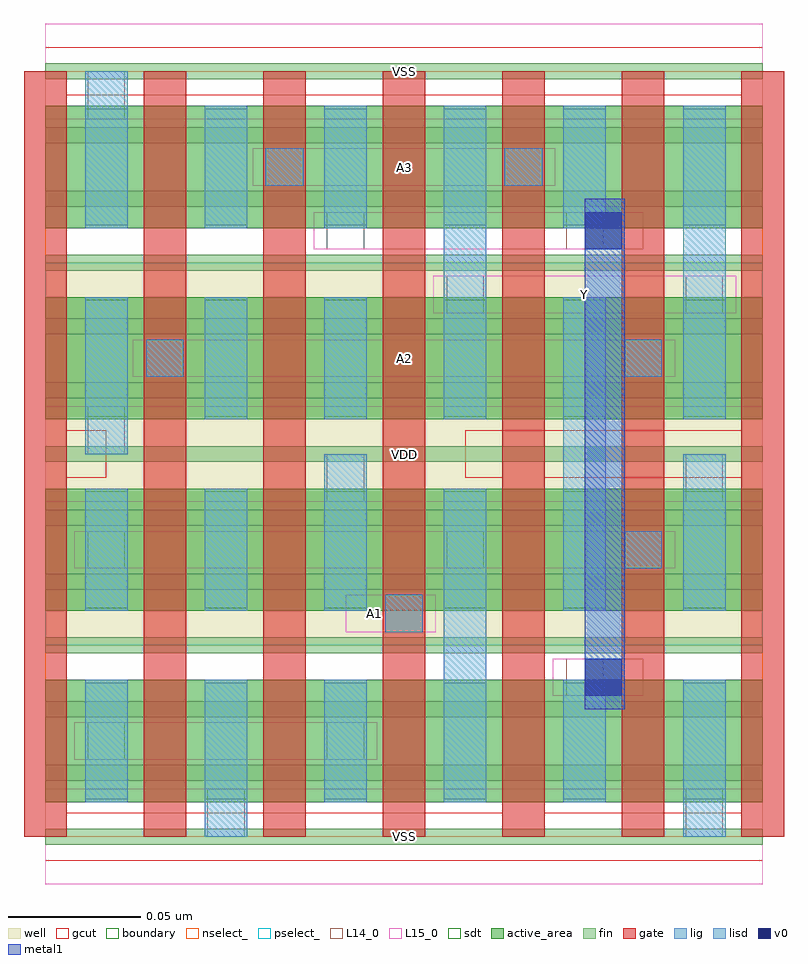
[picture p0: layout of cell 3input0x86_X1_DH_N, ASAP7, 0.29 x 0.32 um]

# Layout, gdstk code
import gdstk
lib = gdstk.Library(unit=1e-6, precision=1e-09)
def R(c, l, rs):  # rectangles x0, y0, x1, y1
    for r in rs: c.add(gdstk.rectangle(r[:2], r[2:], *l))
def A(c, l, x, y, w, h, nx, ny, dx, dy):  # array of equal rectangles
    R(c, l, [(x+i*dx, y+j*dy, x+i*dx+w, y+j*dy+h) for i in range(nx) for j in range(ny)])
def P(c, l, *ps):  # polygons
    for p in ps: c.add(gdstk.Polygon(p, *l))
well = (1, 0)
fin = (2, 0)
gate = (7, 0)
gcut = (10, 0)
active_area = (11, 0)
nselect_ = (12, 0)
pselect_ = (13, 0)
L14_0 = (14, 0)
L15_0 = (15, 0)
lig = (16, 0)
lisd = (17, 0)
v0 = (18, 0)
metal1 = (19, 0)
sdt = (88, 0)
boundary = (100, 0)

c_3input0x86_x1_dh_n = lib.new_cell('3input0x86_X1_DH_N')
R(c_3input0x86_x1_dh_n, well, [(0,0.072,0.27,0.144), (0,0.144,0.27,0.216)])
A(c_3input0x86_x1_dh_n, fin, 0, -0.003, 0.27, 0.006, 1, 13, 0, 0.024)
A(c_3input0x86_x1_dh_n, gate, -0.008, 0, 0.016, 0.288, 7, 1, 0.045, 0)
P(c_3input0x86_x1_dh_n, gcut, [(0,-0.009),(0,0),(-0.008,0),(-0.008,0.279),(0.008,0.279),(0.008,0.153),(0.023,0.153),(0.023,0.135),(0.008,0.135),(0.008,0.009),(0.172,0.009),(0.172,0.135),(0.188,0.135),(0.188,0.009),(0.262,0.009),(0.262,0.135),(0.158,0.135),(0.158,0.153),(0.262,0.153),(0.262,0.279),(-0.008,0.279),(-0.008,0.288),(0,0.288),(0,0.297),(0.27,0.297),(0.27,0.288),(0.278,0.288),(0.278,0),(0.27,0),(0.27,-0.009)])
A(c_3input0x86_x1_dh_n, active_area, 0, 0.013, 0.27, 0.046, 1, 4, 0, 0.072)
R(c_3input0x86_x1_dh_n, nselect_, [(0,0,0.27,0.072), (0,0.216,0.27,0.288)])
R(c_3input0x86_x1_dh_n, pselect_, [(0,0.072,0.27,0.144), (0,0.144,0.27,0.216)])
R(c_3input0x86_x1_dh_n, L14_0, [(0.061,0,0.075,0.018), (0.241,0,0.255,0.018), (0.016,0.029,0.03,0.043), (0.106,0.029,0.12,0.043), (0.196,0.053,0.21,0.067), (0.128,0.077,0.142,0.091), (0.016,0.101,0.03,0.115), (0.151,0.101,0.165,0.115), (0.218,0.101,0.232,0.115), (0.106,0.126,0.12,0.144), (0.241,0.126,0.255,0.144), (0.016,0.144,0.03,0.162), (0.038,0.173,0.052,0.187), (0.218,0.173,0.232,0.187), (0.151,0.197,0.165,0.211), (0.241,0.197,0.255,0.211), (0.106,0.221,0.12,0.235), (0.196,0.221,0.21,0.235), (0.083,0.245,0.097,0.259), (0.173,0.245,0.187,0.259), (0.016,0.27,0.03,0.288)])
A(c_3input0x86_x1_dh_n, L15_0, 0, -0.018, 0.27, 0.036, 1, 3, 0, 0.144)
R(c_3input0x86_x1_dh_n, L15_0, [(0.011,0.029,0.125,0.043), (0.191,0.053,0.225,0.067), (0.113,0.077,0.147,0.091), (0.011,0.101,0.237,0.115), (0.033,0.173,0.237,0.187), (0.146,0.197,0.26,0.211), (0.101,0.221,0.225,0.235), (0.078,0.245,0.192,0.259)])
R(c_3input0x86_x1_dh_n, lig, [(0.128,0.077,0.142,0.091), (0.218,0.101,0.232,0.115), (0.038,0.173,0.052,0.187), (0.218,0.173,0.232,0.187), (0.083,0.245,0.097,0.259), (0.173,0.245,0.187,0.259)])
A(c_3input0x86_x1_dh_n, lisd, 0.015, 0.013, 0.016, 0.046, 3, 1, 0.09, 0)
A(c_3input0x86_x1_dh_n, lisd, 0.06, 0.085, 0.016, 0.046, 1, 3, 0, 0.072)
R(c_3input0x86_x1_dh_n, lisd, [(0.06,0,0.076,0.059), (0.24,0,0.256,0.059), (0.15,0.013,0.166,0.131), (0.015,0.085,0.031,0.131), (0.105,0.085,0.121,0.144), (0.195,0.085,0.211,0.203), (0.24,0.085,0.256,0.144), (0.015,0.144,0.031,0.203), (0.105,0.157,0.121,0.203), (0.15,0.157,0.166,0.275), (0.24,0.157,0.256,0.275), (0.015,0.229,0.031,0.288), (0.105,0.229,0.121,0.275), (0.195,0.229,0.211,0.275)])
R(c_3input0x86_x1_dh_n, v0, [(0.203,0.053,0.217,0.067), (0.203,0.221,0.217,0.235)])
R(c_3input0x86_x1_dh_n, metal1, [(0.203,0.048,0.218,0.24)])
A(c_3input0x86_x1_dh_n, sdt, 0.015, 0.014, 0.016, 0.044, 6, 4, 0.045, 0.072)
R(c_3input0x86_x1_dh_n, boundary, [(0,0,0.27,0.288)])
c_3input0x86_x1_dh_n.add(gdstk.Label('Y', (0.203,0.204), layer=15, texttype=251))
c_3input0x86_x1_dh_n.add(gdstk.Label('VSS', (0.135,0), layer=15, texttype=251))
c_3input0x86_x1_dh_n.add(gdstk.Label('VDD', (0.135,0.144), layer=15, texttype=251))
c_3input0x86_x1_dh_n.add(gdstk.Label('VDD', (0.135,0.144), layer=15, texttype=251))
c_3input0x86_x1_dh_n.add(gdstk.Label('VSS', (0.135,0.288), layer=15, texttype=251))
c_3input0x86_x1_dh_n.add(gdstk.Label('A3', (0.135,0.252), layer=15, texttype=251))
c_3input0x86_x1_dh_n.add(gdstk.Label('VSS', (0.135,0), layer=15, texttype=251))
c_3input0x86_x1_dh_n.add(gdstk.Label('VDD', (0.135,0.144), layer=15, texttype=251))
c_3input0x86_x1_dh_n.add(gdstk.Label('VDD', (0.135,0.144), layer=15, texttype=251))
c_3input0x86_x1_dh_n.add(gdstk.Label('VSS', (0.135,0.288), layer=15, texttype=251))
c_3input0x86_x1_dh_n.add(gdstk.Label('A1', (0.124,0.084), layer=15, texttype=251))
c_3input0x86_x1_dh_n.add(gdstk.Label('VSS', (0.135,0), layer=15, texttype=251))
c_3input0x86_x1_dh_n.add(gdstk.Label('VDD', (0.135,0.144), layer=15, texttype=251))
c_3input0x86_x1_dh_n.add(gdstk.Label('VDD', (0.135,0.144), layer=15, texttype=251))
c_3input0x86_x1_dh_n.add(gdstk.Label('VSS', (0.135,0.288), layer=15, texttype=251))
c_3input0x86_x1_dh_n.add(gdstk.Label('A2', (0.135,0.18), layer=15, texttype=251))
c_3input0x86_x1_dh_n.add(gdstk.Label('VSS', (0.135,0), layer=15, texttype=251))
c_3input0x86_x1_dh_n.add(gdstk.Label('VDD', (0.135,0.144), layer=15, texttype=251))
c_3input0x86_x1_dh_n.add(gdstk.Label('VDD', (0.135,0.144), layer=15, texttype=251))
c_3input0x86_x1_dh_n.add(gdstk.Label('VSS', (0.135,0.288), layer=15, texttype=251))
c_3input0x86_x1_dh_n.add(gdstk.Label('VSS', (0.135,0), layer=3, texttype=251))
c_3input0x86_x1_dh_n.add(gdstk.Label('VSS', (0.135,0.288), layer=3, texttype=251))
c_3input0x86_x1_dh_n.add(gdstk.Label('VSS', (0.135,0), layer=3, texttype=251))
c_3input0x86_x1_dh_n.add(gdstk.Label('VSS', (0.135,0.288), layer=3, texttype=251))
c_3input0x86_x1_dh_n.add(gdstk.Label('VSS', (0.135,0), layer=3, texttype=251))
c_3input0x86_x1_dh_n.add(gdstk.Label('VSS', (0.135,0.288), layer=3, texttype=251))
c_3input0x86_x1_dh_n.add(gdstk.Label('VSS', (0.135,0), layer=3, texttype=251))
c_3input0x86_x1_dh_n.add(gdstk.Label('VSS', (0.135,0.288), layer=3, texttype=251))
c_3input0x86_x1_dh_n.add(gdstk.Label('VDD', (0.135,0.144), layer=1, texttype=251))
c_3input0x86_x1_dh_n.add(gdstk.Label('VDD', (0.135,0.144), layer=1, texttype=251))
c_3input0x86_x1_dh_n.add(gdstk.Label('VDD', (0.135,0.144), layer=1, texttype=251))
c_3input0x86_x1_dh_n.add(gdstk.Label('VDD', (0.135,0.144), layer=1, texttype=251))
c_3input0x86_x1_dh_n.add(gdstk.Label('VDD', (0.135,0.144), layer=1, texttype=251))
c_3input0x86_x1_dh_n.add(gdstk.Label('VDD', (0.135,0.144), layer=1, texttype=251))
c_3input0x86_x1_dh_n.add(gdstk.Label('VDD', (0.135,0.144), layer=1, texttype=251))
c_3input0x86_x1_dh_n.add(gdstk.Label('VDD', (0.135,0.144), layer=1, texttype=251))

lib.write_gds('3input0x86_X1_DH_N.gds')
